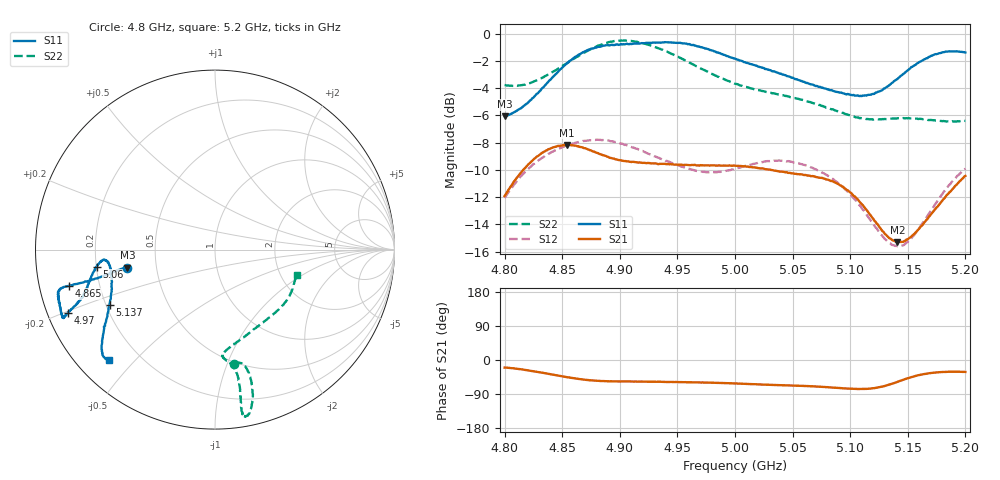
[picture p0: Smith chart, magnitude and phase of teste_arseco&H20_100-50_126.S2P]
! Network Analyzer HP8722D
! Hewlett-Packard
! Data name: Linha & Wilkinson
! Saver's name: Rodrigo Anjos
! Comments: Teste da utilização de aquisição
! continua pelo VNA HP8722D
! Time and date: 6/5/2025 13:37
!  Frequency  S11  S21  S12  S22
# HZ  S  MA R 50
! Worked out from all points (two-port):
!   401 points, 4.8 GHz to 5.2 GHz, reference 50 ohm
!   highest |S21| = -8.17 dB at 4.854 GHz (marker M1); lowest = -15.3 dB at 5.141 GHz (marker M2)
!   |S21| within 3 dB of the highest: 4.806 GHz to 5.092 GHz (286.5 MHz wide, 5.79 % of centre); 5.19131 GHz to end of sweep
!   lowest |S11| = -6.1 dB at 4.8 GHz (marker M3), VSWR 2.98, Z = 16.9 - j4.53 ohm
!   |S11| at or under -10 dB: nowhere
!   |S22| runs from -6.5 to -0.5 dB; largest |S21 - S12| = 0.62
!   S11 on the Smith chart (normalised r, x): 4.8 GHz: 0.34, -0.09; 4.865 GHz: 0.09, -0.12; 4.97 GHz: 0.06, -0.21; 5.06 GHz: 0.20, -0.07; 5.137 GHz: 0.21, -0.23; 5.2 GHz: 0.09, -0.42
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4.8e9  0.498 -168.3  0.2534 -19.9  0.2495 -141.1  0.6484 -80.4
4.827e9  0.5955 -167.2  0.3505 -30.4  0.3364 -145.0  0.6717 -75.5
4.854e9  0.7773 -166.0  0.3905 -45.3  0.3885 -150.1  0.7792 -74.8
4.865e9  0.8404 -166.1  0.3841 -50.3  0.4009 -152.0  0.8329 -75.3
4.867e9  0.8493 -166.0  0.3831 -51.1  0.4022 -152.3  0.8433 -75.5
4.898e9  0.9128 -163.0  0.3445 -56.4  0.3976 -156.6  0.942 -79.0
4.913e9  0.9207 -160.0  0.3378 -56.7  0.3802 -157.2  0.9354 -80.3
4.934e9  0.9283 -156.7  0.3324 -57.5  0.3504 -155.8  0.8828 -80.5
4.97e9  0.8931 -156.6  0.3293 -59.4  0.3118 -147.2  0.7466 -79.8
5e9  0.81 -159.2  0.3275 -62.0  0.3195 -137.4  0.6554 -81.3
5.036e9  0.7211 -165.8  0.3136 -66.1  0.3415 -134.7  0.6002 -85.8
5.06e9  0.666 -171.9  0.3026 -68.5  0.3298 -136.3  0.569 -84.3
5.067e9  0.6507 -173.2  0.3002 -69.3  0.3223 -136.9  0.5576 -82.7
5.082e9  0.6208 -174.9  0.2896 -72.1  0.2984 -138.4  0.532 -77.1
5.101e9  0.5959 -172.0  0.2596 -76.0  0.2544 -138.9  0.4994 -66.3
5.116e9  0.5964 -165.4  0.22 -76.0  0.2116 -135.6  0.4854 -55.7
5.134e9  0.6478 -154.3  0.1774 -65.0  0.1703 -120.5  0.4874 -43.3
5.137e9  0.6622 -152.4  0.1741 -62.1  0.1675 -116.6  0.4889 -41.4
5.141e9  0.6821 -150.4  0.1718 -57.7  0.1659 -111.4  0.4893 -39.0
5.153e9  0.7538 -145.2  0.18 -45.3  0.177 -96.1  0.489 -32.8
5.172e9  0.8344 -139.2  0.2219 -33.7  0.2303 -81.3  0.4815 -24.5
5.2e9  0.8536 -133.9  0.3005 -31.6  0.3197 -77.2  0.4786 -17.5
